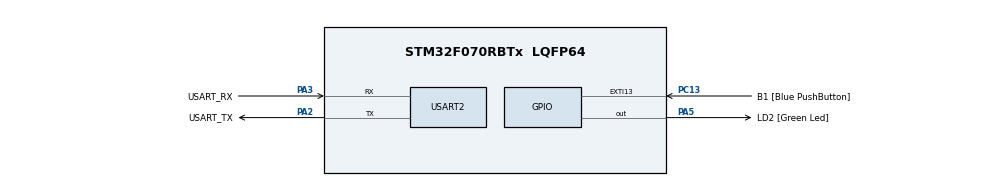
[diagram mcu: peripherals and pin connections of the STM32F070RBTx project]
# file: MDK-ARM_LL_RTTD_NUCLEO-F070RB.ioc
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Mcu.Family=STM32F0
Mcu.Name=STM32F070RBTx
Mcu.Package=LQFP64
PA13.GPIO_Label=TMS
PA13.Mode=Serial_Wire
PA13.Signal=SYS_SWDIO
PA14.GPIO_Label=TCK
PA14.Mode=Serial_Wire
PA14.Signal=SYS_SWCLK
PA2.GPIO_Label=USART_TX
PA2.Mode=Asynchronous
PA2.Signal=USART2_TX
PA3.GPIO_Label=USART_RX
PA3.Mode=Asynchronous
PA3.Signal=USART2_RX
PA5.GPIO_Label=LD2 [Green Led]
PA5.Signal=GPIO_Output
PC13.GPIO_Label=B1 [Blue PushButton]
PC13.GPIO_ModeDefaultEXTI=GPIO_MODE_IT_FALLING
PC13.Signal=GPXTI13
PC14-OSC32_IN.GPIO_Label=RCC_OSC32_IN
PC14-OSC32_IN.Mode=LSE-External-Oscillator
PC14-OSC32_IN.Signal=RCC_OSC32_IN
PC15-OSC32_OUT.GPIO_Label=RCC_OSC32_OUT
PC15-OSC32_OUT.Mode=LSE-External-Oscillator
PC15-OSC32_OUT.Signal=RCC_OSC32_OUT
PF0-OSC_IN.GPIO_Label=RCC_OSC_IN
PF0-OSC_IN.Mode=HSE-External-Clock-Source
PF0-OSC_IN.Signal=RCC_OSC_IN
PF1-OSC_OUT.GPIO_Label=RCC_OSC_OUT
PF1-OSC_OUT.Signal=RCC_OSC_OUT
ProjectManager.HeapSize=0x200
ProjectManager.StackSize=0x400
ProjectManager.TargetToolchain=MDK-ARM V5.27
RCC.AHBFreq_Value=48000000
RCC.APB1Freq_Value=48000000
RCC.APB1TimFreq_Value=48000000
RCC.HCLKFreq_Value=48000000
RCC.PLLMUL=RCC_PLL_MUL6
RCC.SYSCLKFreq_VALUE=48000000
RCC.SYSCLKSource=RCC_SYSCLKSOURCE_PLLCLK
USART2.VirtualMode-Asynchronous=VM_ASYNC
board=NUCLEO-F070RB

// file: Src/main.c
/* USER CODE BEGIN Header */
/**
  ******************************************************************************
  * @file           : main.c
  * @brief          : Main program body
  ******************************************************************************
  * @attention
  *
  * <h2><center>&copy; Copyright (c) 2020 STMicroelectronics.
  * All rights reserved.</center></h2>
  *
  * This software component is licensed by ST under BSD 3-Clause license,
  * the "License"; You may not use this file except in compliance with the
  * License. You may obtain a copy of the License at:
  *                        opensource.org/licenses/BSD-3-Clause
  *
  ******************************************************************************
  */
/* USER CODE END Header */

#include "main.h"

/* USER CODE BEGIN Includes */
#include "SEGGER_RTT.h"
#include "string.h"
#include "trice.h"
/* USER CODE END Includes */

void SystemClock_Config(void);
static void MX_GPIO_Init(void);
static void MX_USART2_UART_Init(void);

int main(void)
{

  /* MCU Configuration--------------------------------------------------------*/

  /* Reset of all peripherals, Initializes the Flash interface and the Systick. */

  LL_APB1_GRP2_EnableClock(LL_APB1_GRP2_PERIPH_SYSCFG);
  LL_APB1_GRP1_EnableClock(LL_APB1_GRP1_PERIPH_PWR);

  /* System interrupt init*/

  /* Configure the system clock */
  SystemClock_Config();

  /* USER CODE BEGIN SysInit */
    SysTick->CTRL |= SysTick_CTRL_TICKINT_Msk; // enable SysTick interrupt
  /* USER CODE END SysInit */

  /* Initialize all configured peripherals */
  MX_GPIO_Init();
  MX_USART2_UART_Init();

  /* Infinite loop */
  /* USER CODE BEGIN WHILE */
    TRICE_SYNC;
    TRICE16_1( Id(45373), "tim:timing      message, SysTick is %6d\n", SYSTICKVAL16 );
    TRICE0( Id(64239), "att:MDK-ARM_LL_RTTD_NUCLEO-F070RB\n" );
    TRICE16_1( Id(45373), "tim:timing      message, SysTick is %6d\n", SYSTICKVAL16 );
    TRICE16_1( Id(45373), "tim:timing      message, SysTick is %6d\n", SYSTICKVAL16 );
    TRICE16_1( Id(45373), "tim:timing      message, SysTick is %6d\n", SYSTICKVAL16 );
    TRICE16_1( Id(45373), "tim:timing      message, SysTick is %6d\n", SYSTICKVAL16 );
    while (1)
    {
      //////////////////////////////////////////////////
      // demo trices
      //
      static uint32_t ms_1 = 0;
      extern uint32_t ms;
      if( ms >= ms_1 + 1000 ){ // every sec
          TRICE_SYNC; // for re-synchronisation the running target
          static int index = 0;
          triceCheckSet(index++%20);
          TRICE32_1( Id(29200), "time:ms = %d\n", ms );
          LL_GPIO_TogglePin(LD2_GPIO_Port, LD2_Pin);
          ms_1 = ms;
      }
      //
      //////////////////////////////////////////////////

      //////////////////////////////////////////////////
      // no background activity needed in code
      //////////////////////////////////////////////////

    /* USER CODE END WHILE */

  }
}

void SystemClock_Config(void)
{
  LL_FLASH_SetLatency(LL_FLASH_LATENCY_1);

  if(LL_FLASH_GetLatency() != LL_FLASH_LATENCY_1)
  {
  Error_Handler();
  }
  LL_RCC_HSI_Enable();

   /* Wait till HSI is ready */
  while(LL_RCC_HSI_IsReady() != 1)
  {

  }
  LL_RCC_HSI_SetCalibTrimming(16);
  LL_RCC_PLL_ConfigDomain_SYS(LL_RCC_PLLSOURCE_HSI, LL_RCC_PLL_MUL_6, LL_RCC_PREDIV_DIV_1);
  LL_RCC_PLL_Enable();

   /* Wait till PLL is ready */
  while(LL_RCC_PLL_IsReady() != 1)
  {

  }
  LL_RCC_SetAHBPrescaler(LL_RCC_SYSCLK_DIV_1);
  LL_RCC_SetAPB1Prescaler(LL_RCC_APB1_DIV_1);
  LL_RCC_SetSysClkSource(LL_RCC_SYS_CLKSOURCE_PLL);

   /* Wait till System clock is ready */
  while(LL_RCC_GetSysClkSource() != LL_RCC_SYS_CLKSOURCE_STATUS_PLL)
  {

  }
  LL_Init1msTick(48000000);
  LL_SetSystemCoreClock(48000000);
}

static void MX_USART2_UART_Init(void)
{

  LL_USART_InitTypeDef USART_InitStruct = {0};

  LL_GPIO_InitTypeDef GPIO_InitStruct = {0};

  /* Peripheral clock enable */
  LL_APB1_GRP1_EnableClock(LL_APB1_GRP1_PERIPH_USART2);

  LL_AHB1_GRP1_EnableClock(LL_AHB1_GRP1_PERIPH_GPIOA);
  /**USART2 GPIO Configuration
  PA2   ------> USART2_TX
  PA3   ------> USART2_RX
  */
  GPIO_InitStruct.Pin = USART_TX_Pin;
  GPIO_InitStruct.Mode = LL_GPIO_MODE_ALTERNATE;
  GPIO_InitStruct.Speed = LL_GPIO_SPEED_FREQ_HIGH;
  GPIO_InitStruct.OutputType = LL_GPIO_OUTPUT_PUSHPULL;
  GPIO_InitStruct.Pull = LL_GPIO_PULL_NO;
  GPIO_InitStruct.Alternate = LL_GPIO_AF_1;
  LL_GPIO_Init(USART_TX_GPIO_Port, &GPIO_InitStruct);

  GPIO_InitStruct.Pin = USART_RX_Pin;
  GPIO_InitStruct.Mode = LL_GPIO_MODE_ALTERNATE;
  GPIO_InitStruct.Speed = LL_GPIO_SPEED_FREQ_HIGH;
  GPIO_InitStruct.OutputType = LL_GPIO_OUTPUT_PUSHPULL;
  GPIO_InitStruct.Pull = LL_GPIO_PULL_NO;
  GPIO_InitStruct.Alternate = LL_GPIO_AF_1;
  LL_GPIO_Init(USART_RX_GPIO_Port, &GPIO_InitStruct);

  USART_InitStruct.BaudRate = 38400;
  USART_InitStruct.DataWidth = LL_USART_DATAWIDTH_8B;
  USART_InitStruct.StopBits = LL_USART_STOPBITS_1;
  USART_InitStruct.Parity = LL_USART_PARITY_NONE;
  USART_InitStruct.TransferDirection = LL_USART_DIRECTION_TX_RX;
  USART_InitStruct.HardwareFlowControl = LL_USART_HWCONTROL_NONE;
  USART_InitStruct.OverSampling = LL_USART_OVERSAMPLING_16;
  LL_USART_Init(USART2, &USART_InitStruct);
  LL_USART_DisableIT_CTS(USART2);
  LL_USART_ConfigAsyncMode(USART2);
  LL_USART_Enable(USART2);

}

static void MX_GPIO_Init(void)
{
  LL_EXTI_InitTypeDef EXTI_InitStruct = {0};
  LL_GPIO_InitTypeDef GPIO_InitStruct = {0};

  /* GPIO Ports Clock Enable */
  LL_AHB1_GRP1_EnableClock(LL_AHB1_GRP1_PERIPH_GPIOC);
  LL_AHB1_GRP1_EnableClock(LL_AHB1_GRP1_PERIPH_GPIOF);
  LL_AHB1_GRP1_EnableClock(LL_AHB1_GRP1_PERIPH_GPIOA);

  /**/
  LL_GPIO_ResetOutputPin(LD2_GPIO_Port, LD2_Pin);

  /**/
  LL_SYSCFG_SetEXTISource(LL_SYSCFG_EXTI_PORTC, LL_SYSCFG_EXTI_LINE13);

  /**/
  LL_GPIO_SetPinPull(B1_GPIO_Port, B1_Pin, LL_GPIO_PULL_NO);

  /**/
  LL_GPIO_SetPinMode(B1_GPIO_Port, B1_Pin, LL_GPIO_MODE_INPUT);

  /**/
  EXTI_InitStruct.Line_0_31 = LL_EXTI_LINE_13;
  EXTI_InitStruct.LineCommand = ENABLE;
  EXTI_InitStruct.Mode = LL_EXTI_MODE_IT;
  EXTI_InitStruct.Trigger = LL_EXTI_TRIGGER_FALLING;
  LL_EXTI_Init(&EXTI_InitStruct);

  /**/
  GPIO_InitStruct.Pin = LD2_Pin;
  GPIO_InitStruct.Mode = LL_GPIO_MODE_OUTPUT;
  GPIO_InitStruct.Speed = LL_GPIO_SPEED_FREQ_LOW;
  GPIO_InitStruct.OutputType = LL_GPIO_OUTPUT_PUSHPULL;
  GPIO_InitStruct.Pull = LL_GPIO_PULL_NO;
  LL_GPIO_Init(LD2_GPIO_Port, &GPIO_InitStruct);

}

void Error_Handler(void)
{
}

/************************ (C) COPYRIGHT STMicroelectronics *****END OF FILE****/
